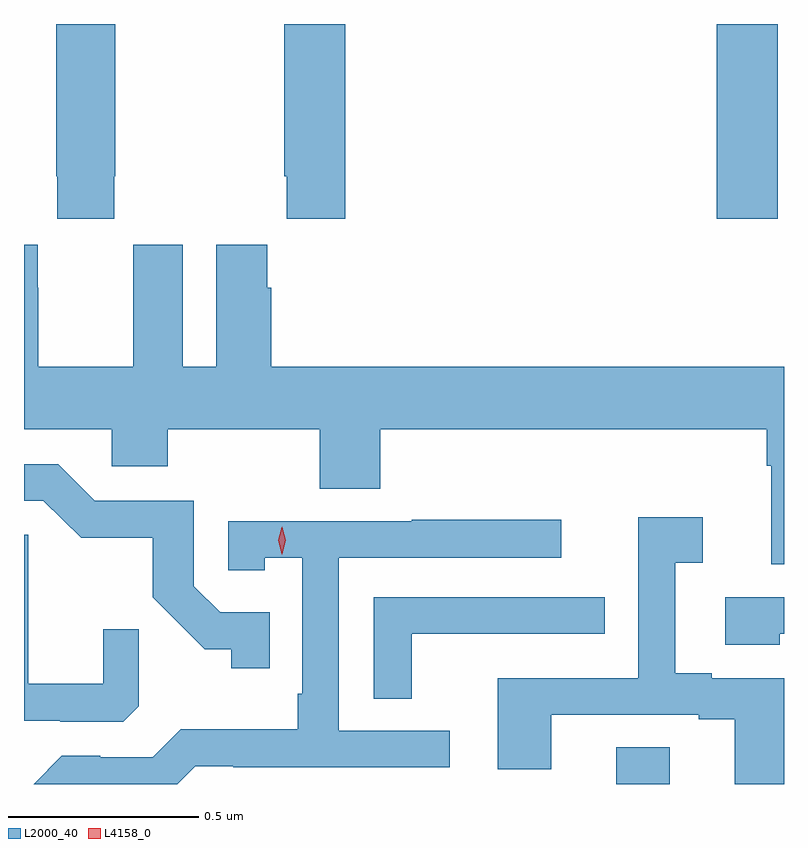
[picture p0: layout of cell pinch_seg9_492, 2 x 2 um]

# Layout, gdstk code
import gdstk
lib = gdstk.Library(unit=1e-6, precision=1e-09)
def R(c, l, rs):  # rectangles x0, y0, x1, y1
    for r in rs: c.add(gdstk.rectangle(r[:2], r[2:], *l))
def P(c, l, *ps):  # polygons
    for p in ps: c.add(gdstk.Polygon(p, *l))
L2000_40 = (2000, 40)
L4158_0 = (4158, 0)

pinch_seg9_492 = lib.new_cell('pinch_seg9_492')
R(pinch_seg9_492, L2000_40, [(352.481,1172.842,352.621,1172.939), (352.745,1174.329,352.905,1174.842)])
P(pinch_seg9_492, L2000_40, [(351.159,1174.441),(351.162,1174.441),(351.162,1174.842),(351.007,1174.842),(351.007,1174.441),(351.009,1174.441),(351.009,1174.329),(351.159,1174.329)],
  [(351.767,1174.842),(351.607,1174.842),(351.607,1174.441),(351.613,1174.441),(351.613,1174.329),(351.767,1174.329)],
  [(351.21,1174.148),(351.209,1174.148),(351.209,1173.94),(350.959,1173.94),(350.959,1174.148),(350.958,1174.148),(350.958,1174.261),(350.922,1174.261),(350.922,1173.776),(351.153,1173.776),(351.153,1173.678),(351.3,1173.678),(351.3,1173.776),(351.7,1173.776),(351.7,1173.619),(351.86,1173.619),(351.86,1173.776),(352.877,1173.776),(352.877,1173.68),(352.889,1173.68),(352.889,1173.42),(352.922,1173.42),(352.922,1173.94),(351.572,1173.94),(351.572,1174.148),(351.562,1174.148),(351.562,1174.261),(351.428,1174.261),(351.428,1173.94),(351.34,1173.94),(351.34,1174.261),(351.21,1174.261)],
  [(351.569,1173.294),(351.438,1173.294),(351.369,1173.363),(351.369,1173.588),(351.108,1173.588),(351.012,1173.684),(350.922,1173.684),(350.922,1173.588),(350.973,1173.588),(351.072,1173.49),(351.261,1173.49),(351.261,1173.334),(351.398,1173.197),(351.468,1173.197),(351.468,1173.147),(351.569,1173.147)],
  [(352.922,1173.12),(352.732,1173.12),(352.732,1173.133),(352.636,1173.133),(352.636,1173.424),(352.708,1173.424),(352.708,1173.544),(352.539,1173.544),(352.539,1173.12),(352.169,1173.12),(352.169,1172.881),(352.309,1172.881),(352.309,1173.024),(352.697,1173.024),(352.697,1173.012),(352.793,1173.012),(352.793,1172.842),(352.922,1172.842)],
  [(351.372,1172.889),(351.472,1172.889),(351.472,1172.886),(352.042,1172.886),(352.042,1172.982),(351.75,1172.982),(351.75,1173.438),(352.336,1173.438),(352.336,1173.537),(351.943,1173.537),(351.943,1173.534),(351.459,1173.534),(351.459,1173.405),(351.555,1173.405),(351.555,1173.437),(351.654,1173.437),(351.654,1173.079),(351.642,1173.079),(351.642,1172.986),(351.334,1172.986),(351.261,1172.913),(351.122,1172.913),(351.122,1172.916),(351.021,1172.916),(350.947,1172.842),(351.325,1172.842)],
  [(351.224,1173.047),(351.224,1173.249),(351.13,1173.249),(351.13,1173.106),(350.933,1173.106),(350.933,1173.498),(350.922,1173.498),(350.922,1173.009),(351.018,1173.009),(351.018,1173.006),(351.183,1173.006)],
  [(352.911,1173.237),(352.922,1173.237),(352.922,1173.333),(352.767,1173.333),(352.767,1173.209),(352.911,1173.209)],
  [(351.942,1173.237),(352.337,1173.237),(352.337,1173.238),(352.45,1173.238),(352.45,1173.333),(351.843,1173.333),(351.843,1173.067),(351.942,1173.067)])
P(pinch_seg9_492, L4158_0, [(351.6,1173.447),(351.591,1173.483),(351.6,1173.518),(351.601,1173.519),(351.601,1173.518),(351.611,1173.483),(351.601,1173.447),(351.601,1173.447)])

lib.write_gds('pinch_seg9_492.gds')
